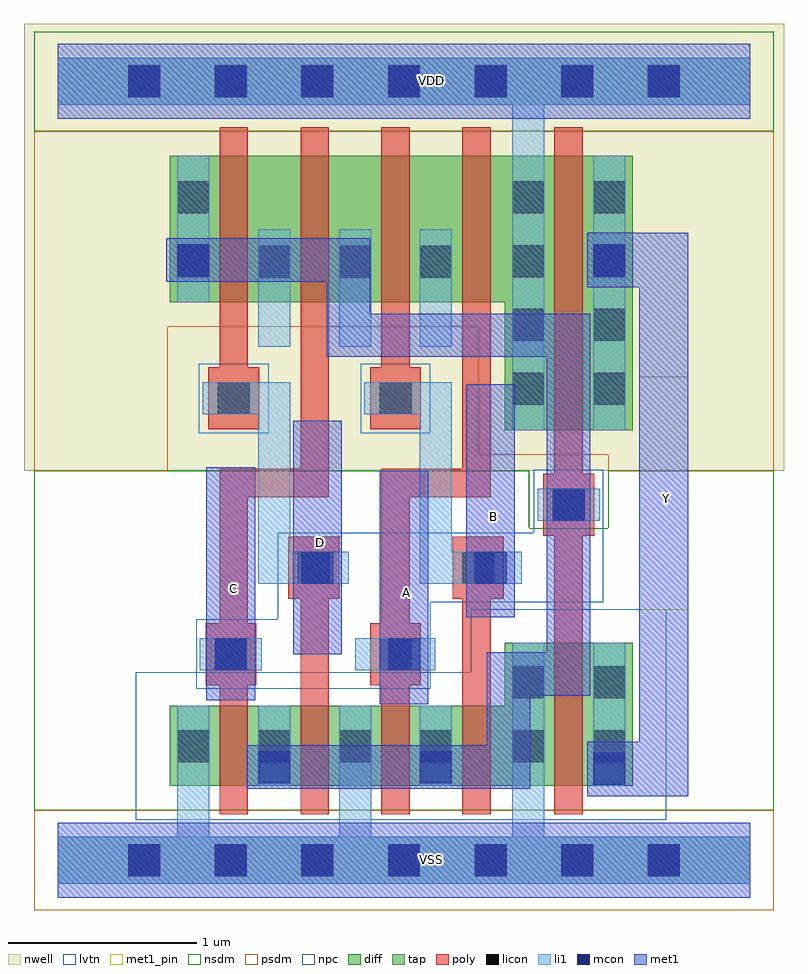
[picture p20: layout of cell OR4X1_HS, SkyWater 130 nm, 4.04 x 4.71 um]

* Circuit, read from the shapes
.subckt OR4X1_HS A B C D VDD VSS Y
XM1 n1 C VSS VSS sky130_fd_pr__nfet_01v8_lvt w=0.425 l=0.15
XM2 VSS D n1 VSS sky130_fd_pr__nfet_01v8_lvt w=0.425 l=0.15
XM3 n1 A VSS VSS sky130_fd_pr__nfet_01v8_lvt w=0.425 l=0.15
XM4 VSS B n1 VSS sky130_fd_pr__nfet_01v8_lvt w=0.425 l=0.15
XM5 Y n1 VSS VSS sky130_fd_pr__nfet_01v8_lvt w=0.76 l=0.15
XM6 n2 D n1 VDD sky130_fd_pr__pfet_01v8 w=0.78 l=0.15
XM7 n3 C n2 VDD sky130_fd_pr__pfet_01v8 w=0.78 l=0.15
XM8 n4 B n3 VDD sky130_fd_pr__pfet_01v8 w=0.78 l=0.15
XM9 VDD A n4 VDD sky130_fd_pr__pfet_01v8 w=0.78 l=0.15
XM10 Y n1 VDD VDD sky130_fd_pr__pfet_01v8 w=1.46 l=0.15
.ends

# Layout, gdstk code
from math import pi, radians
import gdstk
lib = gdstk.Library(unit=1e-6, precision=1e-09)
def R(c, l, rs):  # rectangles x0, y0, x1, y1
    for r in rs: c.add(gdstk.rectangle(r[:2], r[2:], *l))
def A(c, l, x, y, w, h, nx, ny, dx, dy):  # array of equal rectangles
    R(c, l, [(x+i*dx, y+j*dy, x+i*dx+w, y+j*dy+h) for i in range(nx) for j in range(ny)])
def P(c, l, *ps):  # polygons
    for p in ps: c.add(gdstk.Polygon(p, *l))
nwell = (64, 20)
diff = (65, 20)
tap = (65, 44)
poly = (66, 20)
licon = (66, 44)
li1 = (67, 20)
mcon = (67, 44)
met1_pin = (68, 16)
met1 = (68, 20)
nsdm = (93, 44)
psdm = (94, 20)
npc = (95, 20)
lvtn = (125, 44)

pyl1con_c_cdns_758729172 = lib.new_cell('PYL1CON_C_CDNS_758729172862')
R(pyl1con_c_cdns_758729172, poly, [(-0.135,-0.165,0.135,0.165)])
R(pyl1con_c_cdns_758729172, licon, [(-0.085,-0.085,0.085,0.085)])
R(pyl1con_c_cdns_758729172, npc, [(-0.185,-0.185,0.185,0.185)])

l1m1_c_cdns_758729172861 = lib.new_cell('L1M1_C_CDNS_758729172861')
R(l1m1_c_cdns_758729172861, li1, [(-0.085,-0.165,0.085,0.165)])
R(l1m1_c_cdns_758729172861, mcon, [(-0.085,-0.085,0.085,0.085)])
R(l1m1_c_cdns_758729172861, met1, [(-0.115,-0.145,0.115,0.145)])

l1m1_c_cdns_758729172863 = lib.new_cell('L1M1_C_CDNS_758729172863')
R(l1m1_c_cdns_758729172863, li1, [(-0.085,-0.165,0.085,0.165)])
R(l1m1_c_cdns_758729172863, mcon, [(-0.085,-0.085,0.085,0.085)])
R(l1m1_c_cdns_758729172863, met1, [(-0.145,-0.115,0.145,0.115)])

l1m1_c_cdns_758729172860 = lib.new_cell('L1M1_C_CDNS_758729172860')
R(l1m1_c_cdns_758729172860, li1, [(-0.165,-0.085,0.165,0.085)])
R(l1m1_c_cdns_758729172860, mcon, [(-0.085,-0.085,0.085,0.085)])
R(l1m1_c_cdns_758729172860, met1, [(-0.115,-0.145,0.115,0.145)])

licondiff_c_cdns_7587291 = lib.new_cell('LICONDIFF_C_CDNS_7587291728611')
R(licondiff_c_cdns_7587291, diff, [(-0.125,-0.145,0.125,0.145)])
R(licondiff_c_cdns_7587291, licon, [(-0.085,-0.085,0.085,0.085), (-0.085,-0.085,0.085,0.085)])

l1m1_c_cdns_758729172867 = lib.new_cell('L1M1_C_CDNS_758729172867')
R(l1m1_c_cdns_758729172867, li1, [(-0.085,-0.085,0.085,0.165)])
R(l1m1_c_cdns_758729172867, mcon, [(-0.085,-0.085,0.085,0.085)])
R(l1m1_c_cdns_758729172867, met1, [(-0.115,-0.145,0.115,0.145)])

l1m1_c_cdns_758729172862 = lib.new_cell('L1M1_C_CDNS_7587291728625')
R(l1m1_c_cdns_758729172862, li1, [(-0.085,-0.085,0.085,0.165)])
R(l1m1_c_cdns_758729172862, mcon, [(-0.085,-0.085,0.085,0.085)])
R(l1m1_c_cdns_758729172862, met1, [(-0.145,-0.115,0.145,0.115)])

or4x1_hs = lib.new_cell('OR4X1_HS')
R(or4x1_hs, nwell, [(-0.18,2.07,3.86,4.445)])
P(or4x1_hs, diff, [(3.055,3.745),(0.595,3.745),(0.595,2.965),(2.375,2.965),(2.375,2.285),(3.055,2.285)],
  [(3.055,1.155),(2.375,1.155),(2.375,0.82),(0.595,0.82),(0.595,0.395),(3.055,0.395)])
R(or4x1_hs, poly, [(1.29,0.245,1.44,1.555), (2.15,0.245,2.3,1.555), (2.64,0.245,2.79,3.895), (0.86,2.455,1.01,3.895), (1.72,2.455,1.87,3.895)])
P(or4x1_hs, poly, [(1.44,3.895),(1.29,3.895),(1.29,2.08),(0.86,2.08),(0.86,0.245),(1.01,0.245),(1.01,1.93),(1.44,1.93)],
  [(2.3,3.895),(2.15,3.895),(2.15,2.08),(1.72,2.08),(1.72,0.245),(1.87,0.245),(1.87,1.93),(2.3,1.93)])
A(or4x1_hs, licon, 0.375, -0.085, 0.17, 0.17, 7, 2, 0.46, 4.14)
A(or4x1_hs, licon, 0.635, 0.52, 0.17, 0.17, 4, 1, 0.43, 0)
A(or4x1_hs, licon, 2.415, 2.42, 0.17, 0.17, 1, 4, 0, 0.34)
A(or4x1_hs, licon, 2.845, 2.42, 0.17, 0.17, 1, 4, 0, 0.34)
R(or4x1_hs, licon, [(2.415,0.52,2.585,0.69), (2.845,0.52,3.015,0.69), (2.415,0.86,2.585,1.03), (2.845,0.86,3.015,1.03), (0.635,3.1,0.805,3.27), (0.635,3.44,0.805,3.61)])
R(or4x1_hs, li1, [(1.065,0.395,1.235,0.82), (1.925,0.395,2.095,0.82), (2.845,0.395,3.015,1.155), (2.845,2.285,3.015,3.745), (0.635,2.965,0.805,3.745)])
P(or4x1_hs, li1, [(1.535,1.64),(1.235,1.64),(1.235,2.54),(0.77,2.54),(0.77,2.37),(1.065,2.37),(1.065,1.47),(1.535,1.47)],
  [(2.4,1.64),(2.095,1.64),(2.095,2.54),(1.63,2.54),(1.63,2.37),(1.925,2.37),(1.925,1.47),(2.4,1.47)],
  [(3.68,4.265),(0,4.265),(0,4.015),(2.415,4.015),(2.415,2.285),(2.585,2.285),(2.585,4.015),(3.68,4.015)],
  [(3.68,0.125),(2.585,0.125),(2.585,1.155),(2.415,1.155),(2.415,0.125),(1.665,0.125),(1.665,0.82),(1.495,0.82),(1.495,0.125),(0.805,0.125),(0.805,0.82),(0.635,0.82),(0.635,0.125),(0,0.125),(0,-0.125),(3.68,-0.125)])
A(or4x1_hs, mcon, 0.375, -0.085, 0.17, 0.17, 7, 2, 0.46, 4.14)
R(or4x1_hs, met1_pin, [(1.71,0.83,1.97,2.07), (0.79,0.85,1.05,2.09), (1.25,1.095,1.51,2.335), (2.17,1.29,2.43,2.53), (3.09,1.33,3.35,2.57)])
P(or4x1_hs, met1, [(3.35,3.335),(2.96,3.335),(2.96,3.045),(3.09,3.045),(3.09,0.63),(2.93,0.63),(2.93,0.34),(3.35,0.34)])
R(or4x1_hs, nsdm, [(-0.125,3.875,3.805,4.405)])
P(or4x1_hs, nsdm, [(3.805,2.07),(2.925,2.07),(2.925,1.765),(2.505,1.765),(2.505,2.07),(-0.125,2.07),(-0.125,0.265),(3.805,0.265)])
R(or4x1_hs, psdm, [(-0.125,-0.265,3.805,0.265)])
P(or4x1_hs, psdm, [(3.805,3.875),(-0.125,3.875),(-0.125,2.07),(0.585,2.07),(0.585,2.835),(2.235,2.835),(2.235,2.155),(2.925,2.155),(2.925,2.07),(3.805,2.07)])
P(or4x1_hs, npc, [(2.9,2.075),(2.53,2.075),(2.53,1.74),(1.17,1.74),(1.17,1.28),(0.735,1.28),(0.735,0.91),(1.98,0.91),(1.98,1.37),(2.9,1.37)])
P(or4x1_hs, lvtn, [(3.235,1.335),(2.195,1.335),(2.195,1),(0.415,1),(0.415,0.215),(3.235,0.215)])
or4x1_hs.add(gdstk.FlexPath([(2.01,2.73),(2.01,3.355)], 0.17, ends="flush", simple_path=True, layer=67, datatype=20))  # li1
or4x1_hs.add(gdstk.FlexPath([(1.58,2.73),(1.58,3.355)], 0.17, ends="flush", simple_path=True, layer=67, datatype=20))  # li1
or4x1_hs.add(gdstk.FlexPath([(1.84,1.095),(1.58,1.095)], 0.17, ends="flush", simple_path=True, layer=67, datatype=20))  # li1
or4x1_hs.add(gdstk.FlexPath([(1.15,2.73),(1.15,3.355)], 0.17, ends="flush", simple_path=True, layer=67, datatype=20))  # li1
or4x1_hs.add(gdstk.FlexPath([(0,4.14),(3.68,4.14)], 0.4, ends="flush", simple_path=True, layer=68, datatype=20))  # met1
or4x1_hs.add(gdstk.FlexPath([(0,0),(3.68,0)], 0.4, ends="flush", simple_path=True, layer=68, datatype=20))  # met1
or4x1_hs.add(gdstk.FlexPath([(1.38,1.095),(1.38,2.335)], 0.26, ends="flush", simple_path=True, layer=68, datatype=20))  # met1
or4x1_hs.add(gdstk.FlexPath([(0.735,3.19),(1.545,3.19),(1.545,2.79),(2.715,2.79),(2.715,0.99),(2.395,0.99),(2.395,0.495),(1.005,0.495)], 0.23, ends="flush", simple_path=True, layer=68, datatype=20))  # met1
or4x1_hs.add(gdstk.FlexPath([(0.92,0.85),(0.92,2.09)], 0.26, ends="flush", simple_path=True, layer=68, datatype=20))  # met1
or4x1_hs.add(gdstk.FlexPath([(2.3,1.29),(2.3,2.53)], 0.26, ends="flush", simple_path=True, layer=68, datatype=20))  # met1
or4x1_hs.add(gdstk.FlexPath([(1.84,0.83),(1.84,2.07)], 0.26, ends="flush", simple_path=True, layer=68, datatype=20))  # met1
or4x1_hs.add(gdstk.FlexPath([(0,4.14),(3.68,4.14)], 0.4, ends="flush", simple_path=True, layer=68, datatype=16))  # met1_pin
or4x1_hs.add(gdstk.FlexPath([(0,0),(3.68,0)], 0.4, ends="flush", simple_path=True, layer=68, datatype=16))  # met1_pin
or4x1_hs.add(gdstk.FlexPath([(0,4.14),(3.68,4.14)], 0.25, ends="flush", simple_path=True, layer=65, datatype=44))  # tap
or4x1_hs.add(gdstk.FlexPath([(0,0),(3.68,0)], 0.25, ends="flush", simple_path=True, layer=65, datatype=44))  # tap
or4x1_hs.add(gdstk.Reference(pyl1con_c_cdns_758729172, (0.92,1.095), x_reflection=True))
or4x1_hs.add(gdstk.Reference(pyl1con_c_cdns_758729172, (1.795,1.095), x_reflection=True))
or4x1_hs.add(gdstk.Reference(pyl1con_c_cdns_758729172, (2.715,1.89), rotation=pi, x_reflection=True))
or4x1_hs.add(gdstk.Reference(pyl1con_c_cdns_758729172, (2.235,1.555), x_reflection=True))
or4x1_hs.add(gdstk.Reference(pyl1con_c_cdns_758729172, (1.795,2.455), x_reflection=True))
or4x1_hs.add(gdstk.Reference(pyl1con_c_cdns_758729172, (1.36,1.555), x_reflection=True))
or4x1_hs.add(gdstk.Reference(pyl1con_c_cdns_758729172, (0.935,2.455), x_reflection=True))
or4x1_hs.add(gdstk.Reference(l1m1_c_cdns_758729172861, (2.93,3.19)))
or4x1_hs.add(gdstk.Reference(l1m1_c_cdns_758729172863, (0.72,3.19)))
or4x1_hs.add(gdstk.Reference(l1m1_c_cdns_758729172860, (1.38,1.555), x_reflection=True))
or4x1_hs.add(gdstk.Reference(l1m1_c_cdns_758729172860, (2.715,1.89)))
or4x1_hs.add(gdstk.Reference(l1m1_c_cdns_758729172860, (0.92,1.095), x_reflection=True))
or4x1_hs.add(gdstk.Reference(l1m1_c_cdns_758729172860, (1.84,1.095), x_reflection=True))
or4x1_hs.add(gdstk.Reference(l1m1_c_cdns_758729172860, (2.3,1.555), x_reflection=True))
or4x1_hs.add(gdstk.Reference(licondiff_c_cdns_7587291, (2.01,3.18)))
or4x1_hs.add(gdstk.Reference(licondiff_c_cdns_7587291, (1.58,3.18)))
or4x1_hs.add(gdstk.Reference(licondiff_c_cdns_7587291, (1.15,3.18)))
or4x1_hs.add(gdstk.Reference(l1m1_c_cdns_758729172867, (2.93,0.485)))
or4x1_hs.add(gdstk.Reference(l1m1_c_cdns_758729172862, (1.15,0.495)))
or4x1_hs.add(gdstk.Reference(l1m1_c_cdns_758729172862, (2.01,0.495)))
or4x1_hs.add(gdstk.Label('VDD', (1.985,4.145), layer=68, texttype=5))
or4x1_hs.add(gdstk.Label('D', (1.395,1.69), layer=68, texttype=5))
or4x1_hs.add(gdstk.Label('B', (2.315,1.825), layer=68, texttype=5))
or4x1_hs.add(gdstk.Label('C', (0.935,1.445), layer=68, texttype=5))
or4x1_hs.add(gdstk.Label('A', (1.855,1.425), layer=68, texttype=5))
or4x1_hs.add(gdstk.Label('Y', (3.235,1.925), layer=68, texttype=5))
or4x1_hs.add(gdstk.Label('VSS', (1.985,0.005), layer=68, texttype=5))

lib.write_gds('OR4X1_HS.gds')
